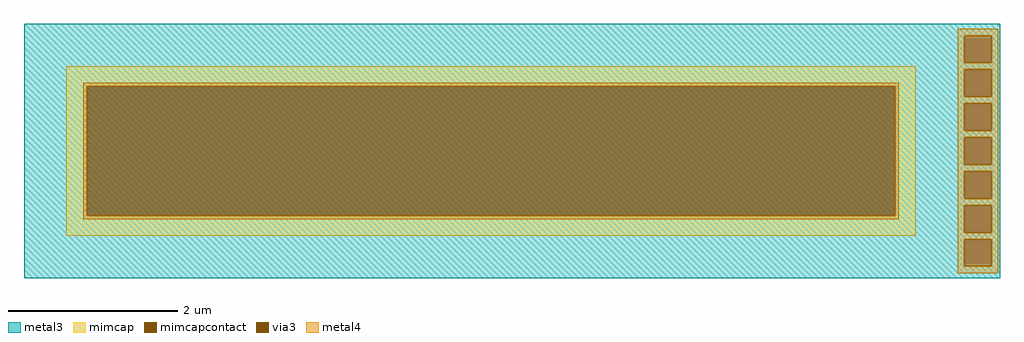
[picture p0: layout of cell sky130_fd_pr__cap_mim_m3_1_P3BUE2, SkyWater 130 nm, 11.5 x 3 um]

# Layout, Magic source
magic
tech sky130A
magscale 1 2
<< metal3 >>
rect -1150 272 1149 300
rect -1150 208 1065 272
rect 1129 208 1149 272
rect -1150 192 1149 208
rect -1150 128 1065 192
rect 1129 128 1149 192
rect -1150 112 1149 128
rect -1150 48 1065 112
rect 1129 48 1149 112
rect -1150 32 1149 48
rect -1150 -32 1065 32
rect 1129 -32 1149 32
rect -1150 -48 1149 -32
rect -1150 -112 1065 -48
rect 1129 -112 1149 -48
rect -1150 -128 1149 -112
rect -1150 -192 1065 -128
rect 1129 -192 1149 -128
rect -1150 -208 1149 -192
rect -1150 -272 1065 -208
rect 1129 -272 1149 -208
rect -1150 -300 1149 -272
<< via3 >>
rect 1065 208 1129 272
rect 1065 128 1129 192
rect 1065 48 1129 112
rect 1065 -32 1129 32
rect 1065 -112 1129 -48
rect 1065 -192 1129 -128
rect 1065 -272 1129 -208
<< mimcap >>
rect -1050 152 950 200
rect -1050 -152 -1002 152
rect 902 -152 950 152
rect -1050 -200 950 -152
<< mimcapcontact >>
rect -1002 -152 902 152
<< metal4 >>
rect 1049 272 1145 288
rect 1049 208 1065 272
rect 1129 208 1145 272
rect 1049 192 1145 208
rect -1011 152 911 161
rect -1011 -152 -1002 152
rect 902 -152 911 152
rect -1011 -161 911 -152
rect 1049 128 1065 192
rect 1129 128 1145 192
rect 1049 112 1145 128
rect 1049 48 1065 112
rect 1129 48 1145 112
rect 1049 32 1145 48
rect 1049 -32 1065 32
rect 1129 -32 1145 32
rect 1049 -48 1145 -32
rect 1049 -112 1065 -48
rect 1129 -112 1145 -48
rect 1049 -128 1145 -112
rect 1049 -192 1065 -128
rect 1129 -192 1145 -128
rect 1049 -208 1145 -192
rect 1049 -272 1065 -208
rect 1129 -272 1145 -208
rect 1049 -288 1145 -272
<< properties >>
string FIXED_BBOX -1150 -300 1050 300
<< end >>
